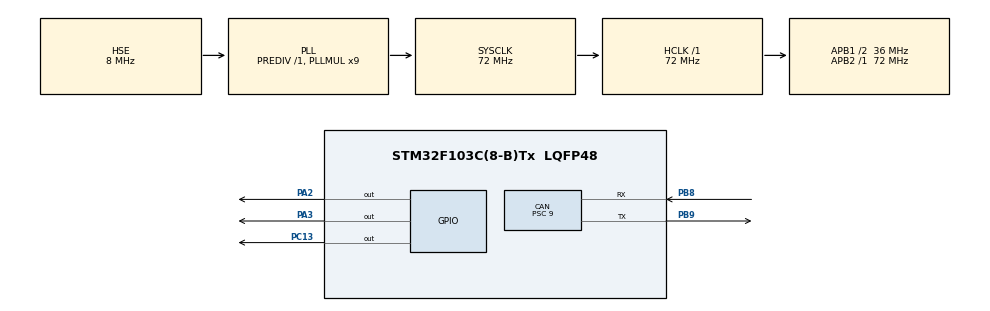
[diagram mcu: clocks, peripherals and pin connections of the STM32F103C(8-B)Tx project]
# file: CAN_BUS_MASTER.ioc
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CAN.BS1=CAN_BS1_10TQ
CAN.BS2=CAN_BS2_5TQ
CAN.CalculateBaudRate=250000
CAN.CalculateTimeBit=4000
CAN.CalculateTimeQuantum=250.0
CAN.Prescaler=9
Mcu.Family=STM32F1
Mcu.Name=STM32F103C(8-B)Tx
Mcu.Package=LQFP48
NVIC.PriorityGroup=NVIC_PRIORITYGROUP_4
PA13.Mode=Serial_Wire
PA13.Signal=SYS_JTMS-SWDIO
PA14.Mode=Serial_Wire
PA14.Signal=SYS_JTCK-SWCLK
PA2.Signal=GPIO_Output
PA3.Signal=GPIO_Output
PB8.Mode=CAN_Activate
PB8.Signal=CAN_RX
PB9.Mode=CAN_Activate
PB9.Signal=CAN_TX
PC13-TAMPER-RTC.Signal=GPIO_Output
PD0-OSC_IN.Mode=HSE-External-Oscillator
PD0-OSC_IN.Signal=RCC_OSC_IN
PD1-OSC_OUT.Mode=HSE-External-Oscillator
PD1-OSC_OUT.Signal=RCC_OSC_OUT
ProjectManager.HeapSize=0x200
ProjectManager.StackSize=0x400
ProjectManager.TargetToolchain=STM32CubeIDE
RCC.AHBFreq_Value=72000000
RCC.APB1CLKDivider=RCC_HCLK_DIV2
RCC.APB1Freq_Value=36000000
RCC.APB1TimFreq_Value=72000000
RCC.APB2Freq_Value=72000000
RCC.APB2TimFreq_Value=72000000
RCC.HCLKFreq_Value=72000000
RCC.PLLMUL=RCC_PLL_MUL9
RCC.PLLSourceVirtual=RCC_PLLSOURCE_HSE
RCC.SYSCLKFreq_VALUE=72000000
RCC.SYSCLKSource=RCC_SYSCLKSOURCE_PLLCLK
RCC.USBFreq_Value=72000000
board=custom

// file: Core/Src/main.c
/* USER CODE BEGIN Header */
/**
  ******************************************************************************
  * @file           : main.c
  * @brief          : Main program body
  ******************************************************************************
  * @attention
  *
  * Copyright (c) 2024 STMicroelectronics.
  * All rights reserved.
  *
  * This software is licensed under terms that can be found in the LICENSE file
  * in the root directory of this software component.
  * If no LICENSE file comes with this software, it is provided AS-IS.
  *
  ******************************************************************************
  */
/* USER CODE END Header */
#include "main.h"

CAN_HandleTypeDef hcan;

/* USER CODE BEGIN PV */

CAN_TxHeaderTypeDef pTxHeader;
CAN_RxHeaderTypeDef pRxHeader;

CAN_FilterTypeDef sFilterConfig;

uint32_t pTxMailbox;
uint8_t count = 0;
uint8_t dizi[2];

uint8_t slave1_bat1=0;
uint8_t slave1_bat2=0;

uint8_t b=0;
uint8_t a=1;

/* USER CODE END PV */

void SystemClock_Config(void);
static void MX_GPIO_Init(void);
static void MX_CAN_Init(void);

int main(void)
{

  /* MCU Configuration--------------------------------------------------------*/

  /* Reset of all peripherals, Initializes the Flash interface and the Systick. */
  HAL_Init();

  /* Configure the system clock */
  SystemClock_Config();

  /* Initialize all configured peripherals */
  MX_GPIO_Init();
  MX_CAN_Init();
  /* USER CODE BEGIN 2 */

  HAL_CAN_Start(&hcan);
    // enable interrupt
    HAL_CAN_ActivateNotification(&hcan, CAN_IT_RX_FIFO0_MSG_PENDING);
    pTxHeader.DLC = 1;
    pTxHeader.IDE =CAN_ID_STD;
    pTxHeader.RTR =CAN_RTR_DATA;
    pTxHeader.StdId = 0x0303;

    //set filter parameters
    sFilterConfig.FilterActivation = ENABLE;
    sFilterConfig.FilterBank = 0;
    sFilterConfig.FilterFIFOAssignment = CAN_FILTER_FIFO0;
    sFilterConfig.FilterIdHigh = 0x0000 << 5;
    sFilterConfig.FilterIdLow = 0x0000 << 5;
    sFilterConfig.FilterMaskIdHigh = 0x0000 << 5;
    sFilterConfig.FilterMaskIdLow = 0x0000 << 5;
    sFilterConfig.FilterMode = CAN_FILTERMODE_IDMASK;
    sFilterConfig.FilterScale = CAN_FILTERSCALE_32BIT;

    HAL_CAN_ConfigFilter(&hcan, &sFilterConfig);

  /* USER CODE END 2 */

  /* Infinite loop */
  while (1)
  {

	  if(b==0)
	      {
	         count=a;
	         HAL_CAN_AddTxMessage(&hcan, &pTxHeader, &count, &pTxMailbox);

	         b=1;

	      }

	   HAL_Delay(50);

	   HAL_CAN_GetRxMessage(&hcan, CAN_RX_FIFO0, &pRxHeader, dizi);

      if (pRxHeader.StdId==257){

	 	  slave1_bat1=dizi[0];
	      slave1_bat2=dizi[1];

	           b=0;

	           if(slave1_bat1>100)
	           {

	        	   HAL_GPIO_WritePin(GPIOC, GPIO_PIN_13, GPIO_PIN_SET);
	           }
	           else
	         {

	         	      HAL_GPIO_WritePin(GPIOC, GPIO_PIN_13, GPIO_PIN_RESET);
	         }

	   }
	   HAL_Delay(50);

  }
}

void SystemClock_Config(void)
{
  RCC_OscInitTypeDef RCC_OscInitStruct = {0};
  RCC_ClkInitTypeDef RCC_ClkInitStruct = {0};

  /** Initializes the RCC Oscillators according to the specified parameters
  * in the RCC_OscInitTypeDef structure.
  */
  RCC_OscInitStruct.OscillatorType = RCC_OSCILLATORTYPE_HSE;
  RCC_OscInitStruct.HSEState = RCC_HSE_ON;
  RCC_OscInitStruct.HSEPredivValue = RCC_HSE_PREDIV_DIV1;
  RCC_OscInitStruct.HSIState = RCC_HSI_ON;
  RCC_OscInitStruct.PLL.PLLState = RCC_PLL_ON;
  RCC_OscInitStruct.PLL.PLLSource = RCC_PLLSOURCE_HSE;
  RCC_OscInitStruct.PLL.PLLMUL = RCC_PLL_MUL9;
  if (HAL_RCC_OscConfig(&RCC_OscInitStruct) != HAL_OK)
  {
    Error_Handler();
  }

  /** Initializes the CPU, AHB and APB buses clocks
  */
  RCC_ClkInitStruct.ClockType = RCC_CLOCKTYPE_HCLK|RCC_CLOCKTYPE_SYSCLK
                              |RCC_CLOCKTYPE_PCLK1|RCC_CLOCKTYPE_PCLK2;
  RCC_ClkInitStruct.SYSCLKSource = RCC_SYSCLKSOURCE_PLLCLK;
  RCC_ClkInitStruct.AHBCLKDivider = RCC_SYSCLK_DIV1;
  RCC_ClkInitStruct.APB1CLKDivider = RCC_HCLK_DIV2;
  RCC_ClkInitStruct.APB2CLKDivider = RCC_HCLK_DIV1;

  if (HAL_RCC_ClockConfig(&RCC_ClkInitStruct, FLASH_LATENCY_2) != HAL_OK)
  {
    Error_Handler();
  }
}

static void MX_CAN_Init(void)
{

  hcan.Instance = CAN1;
  hcan.Init.Prescaler = 9;
  hcan.Init.Mode = CAN_MODE_NORMAL;
  hcan.Init.SyncJumpWidth = CAN_SJW_1TQ;
  hcan.Init.TimeSeg1 = CAN_BS1_10TQ;
  hcan.Init.TimeSeg2 = CAN_BS2_5TQ;
  hcan.Init.TimeTriggeredMode = DISABLE;
  hcan.Init.AutoBusOff = DISABLE;
  hcan.Init.AutoWakeUp = DISABLE;
  hcan.Init.AutoRetransmission = DISABLE;
  hcan.Init.ReceiveFifoLocked = DISABLE;
  hcan.Init.TransmitFifoPriority = DISABLE;
  if (HAL_CAN_Init(&hcan) != HAL_OK)
  {
    Error_Handler();
  }

}

static void MX_GPIO_Init(void)
{
  GPIO_InitTypeDef GPIO_InitStruct = {0};

  /* GPIO Ports Clock Enable */
  __HAL_RCC_GPIOC_CLK_ENABLE();
  __HAL_RCC_GPIOD_CLK_ENABLE();
  __HAL_RCC_GPIOA_CLK_ENABLE();
  __HAL_RCC_GPIOB_CLK_ENABLE();

  /*Configure GPIO pin Output Level */
  HAL_GPIO_WritePin(GPIOC, GPIO_PIN_13, GPIO_PIN_RESET);

  /*Configure GPIO pin Output Level */
  HAL_GPIO_WritePin(GPIOA, GPIO_PIN_2|GPIO_PIN_3, GPIO_PIN_RESET);

  /*Configure GPIO pin : PC13 */
  GPIO_InitStruct.Pin = GPIO_PIN_13;
  GPIO_InitStruct.Mode = GPIO_MODE_OUTPUT_PP;
  GPIO_InitStruct.Pull = GPIO_NOPULL;
  GPIO_InitStruct.Speed = GPIO_SPEED_FREQ_LOW;
  HAL_GPIO_Init(GPIOC, &GPIO_InitStruct);

  /*Configure GPIO pins : PA2 PA3 */
  GPIO_InitStruct.Pin = GPIO_PIN_2|GPIO_PIN_3;
  GPIO_InitStruct.Mode = GPIO_MODE_OUTPUT_PP;
  GPIO_InitStruct.Pull = GPIO_NOPULL;
  GPIO_InitStruct.Speed = GPIO_SPEED_FREQ_LOW;
  HAL_GPIO_Init(GPIOA, &GPIO_InitStruct);

}

void Error_Handler(void)
{
  __disable_irq();
  while (1)
  {
  }
}
